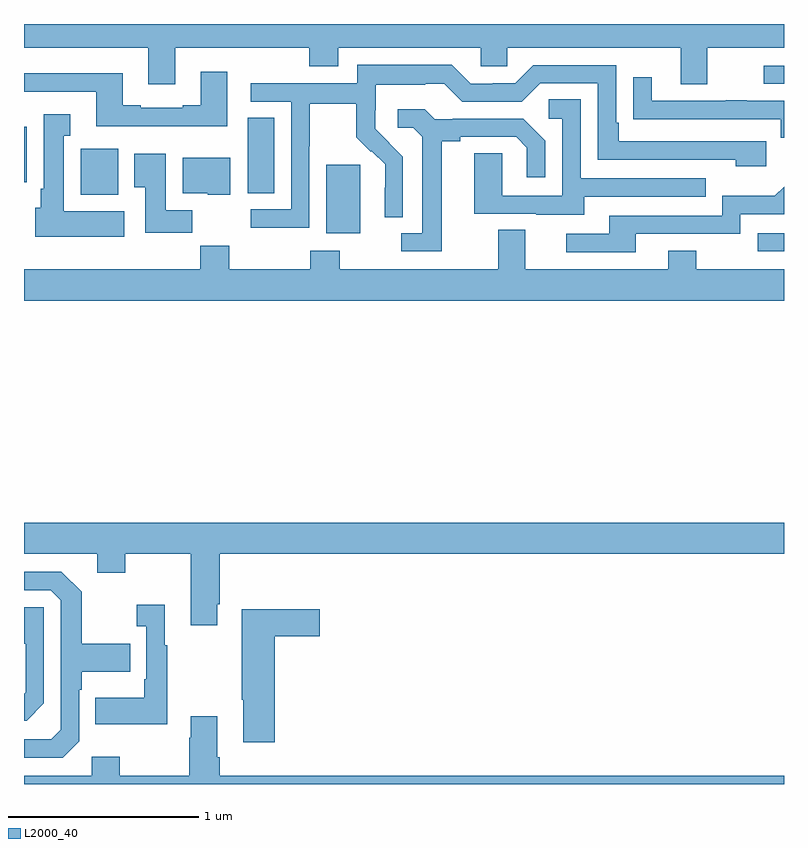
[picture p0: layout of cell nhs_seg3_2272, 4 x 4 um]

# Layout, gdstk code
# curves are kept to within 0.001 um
import gdstk
lib = gdstk.Library(unit=1e-6, precision=1e-09)
def R(c, l, rs):  # rectangles x0, y0, x1, y1
    for r in rs: c.add(gdstk.rectangle(r[:2], r[2:], *l))
def P(c, l, *ps):  # polygons
    for p in ps: c.add(gdstk.Polygon(p, *l))
L2000_40 = (2000, 40)

nhs_seg3_2272 = lib.new_cell('nhs_seg3_2272')
R(nhs_seg3_2272, L2000_40, [(232.863,673.203,233,673.299), (230.591,673.298,230.77,673.659), (229.298,673.502,229.495,673.744), (230.177,673.51,230.317,673.907), (229,673.568,229.015,673.86), (232.893,674.085,233,674.181)])
P(nhs_seg3_2272, L2000_40, [(229,674.276),(229.655,674.276),(229.655,674.082),(229.795,674.082),(229.795,674.276),(230.501,674.276),(230.501,674.177),(230.653,674.177),(230.653,674.276),(231.405,674.276),(231.405,674.178),(231.543,674.178),(231.543,674.276),(232.457,674.276),(232.457,674.082),(232.597,674.082),(232.597,674.276),(233,674.276),(233,674.4),(229,674.4)],
  [(230.502,673.756),(230.505,673.756),(230.505,673.98),(230.749,673.98),(230.749,673.805),(230.826,673.728),(230.829,673.731),(230.9,673.661),(230.9,673.538),(230.898,673.538),(230.898,673.384),(230.994,673.384),(230.994,673.702),(230.848,673.85),(230.848,673.947),(230.85,673.947),(230.85,674.081),(231.113,674.081),(231.113,674.085),(231.213,674.085),(231.306,673.992),(231.621,673.992),(231.717,674.088),(232.02,674.088),(232.02,673.686),(232.745,673.686),(232.745,673.652),(232.906,673.652),(232.906,673.782),(232.129,673.782),(232.129,673.879),(232.116,673.879),(232.116,674.184),(231.681,674.184),(231.585,674.088),(231.467,674.088),(231.467,674.085),(231.351,674.085),(231.251,674.185),(230.754,674.185),(230.754,674.088),(230.193,674.088),(230.193,673.992),(230.406,673.992),(230.406,673.425),(230.193,673.425),(230.193,673.327),(230.502,673.327)],
  [(230.071,674.149),(229.931,674.149),(229.931,673.972),(229.835,673.972),(229.835,673.959),(229.615,673.959),(229.615,673.972),(229.519,673.972),(229.519,674.14),(229,674.14),(229,674.043),(229.379,674.043),(229.379,673.862),(230.071,673.862)],
  [(233,673.995),(232.805,673.995),(232.805,674),(232.693,674),(232.693,673.995),(232.303,673.995),(232.303,674.119),(232.207,674.119),(232.207,673.9),(232.309,673.9),(232.309,673.899),(232.984,673.899),(232.984,673.802),(233,673.802)],
  [(231.949,673.491),(232.589,673.491),(232.589,673.587),(231.93,673.587),(231.93,674.003),(231.762,674.003),(231.762,673.902),(231.834,673.902),(231.834,673.497),(231.516,673.497),(231.516,673.721),(231.371,673.721),(231.371,673.401),(231.695,673.401),(231.695,673.397),(231.949,673.397)],
  [(231.199,673.784),(231.295,673.784),(231.295,673.806),(231.59,673.806),(231.647,673.749),(231.647,673.593),(231.744,673.593),(231.744,673.786),(231.628,673.902),(231.256,673.902),(231.256,673.899),(231.162,673.899),(231.11,673.951),(230.967,673.951),(230.967,673.854),(231.048,673.854),(231.095,673.807),(231.095,673.299),(230.985,673.299),(230.985,673.203),(231.199,673.203)],
  [(229.528,673.414),(229.21,673.414),(229.21,673.811),(229.243,673.811),(229.243,673.924),(229.103,673.924),(229.103,673.534),(229.088,673.534),(229.088,673.434),(229.058,673.434),(229.058,673.28),(229.528,673.28)],
  [(229.886,673.42),(229.747,673.42),(229.747,673.717),(229.58,673.717),(229.58,673.541),(229.637,673.541),(229.637,673.302),(229.886,673.302)],
  [(230.086,673.696),(229.835,673.696),(229.835,673.508),(229.968,673.508),(229.968,673.502),(230.086,673.502)],
  [(232.219,673.296),(232.77,673.296),(232.77,673.398),(233,673.398),(233,673.544),(232.951,673.495),(232.674,673.495),(232.674,673.392),(232.079,673.392),(232.079,673.296),(231.855,673.296),(231.855,673.2),(232.219,673.2)],
  [(233,673.108),(232.539,673.108),(232.539,673.207),(232.391,673.207),(232.391,673.108),(231.637,673.108),(231.637,673.316),(231.497,673.316),(231.497,673.108),(230.661,673.108),(230.661,673.207),(230.506,673.207),(230.506,673.108),(230.079,673.108),(230.079,673.232),(229.927,673.232),(229.927,673.108),(229,673.108),(229,672.944),(233,672.944)],
  [(230.017,671.347),(230.03,671.347),(230.03,671.612),(233,671.612),(233,671.776),(229,671.776),(229,671.612),(229.385,671.612),(229.385,671.513),(229.533,671.513),(229.533,671.612),(229.877,671.612),(229.877,671.235),(230.017,671.235)],
  [(229.29,670.626),(229.29,670.895),(229.303,670.895),(229.303,670.991),(229.559,670.991),(229.559,671.139),(229.303,671.139),(229.303,671.411),(229.197,671.517),(229,671.517),(229,671.421),(229.14,671.421),(229.194,671.367),(229.194,670.686),(229.143,670.635),(229,670.635),(229,670.539),(229.203,670.539)],
  [(229.753,671.131),(229.741,671.131),(229.741,671.344),(229.593,671.344),(229.593,671.231),(229.644,671.231),(229.644,670.951),(229.632,670.951),(229.632,670.855),(229.375,670.855),(229.375,670.715),(229.753,670.715)],
  [(229.104,670.824),(229.104,671.331),(229,671.331),(229,671.138),(229.008,671.138),(229.008,670.884),(229,670.876),(229,670.734),(229.014,670.734)],
  [(230.321,671.177),(230.557,671.177),(230.557,671.319),(230.146,671.319),(230.146,670.843),(230.153,670.843),(230.153,670.62),(230.321,670.62)],
  [(233,670.444),(230.03,670.444),(230.03,670.54),(230.017,670.54),(230.017,670.756),(229.877,670.756),(229.877,670.643),(229.87,670.643),(229.87,670.444),(229.503,670.444),(229.503,670.543),(229.356,670.543),(229.356,670.444),(229,670.444),(229,670.4),(233,670.4)])

lib.write_gds('nhs_seg3_2272.gds')
